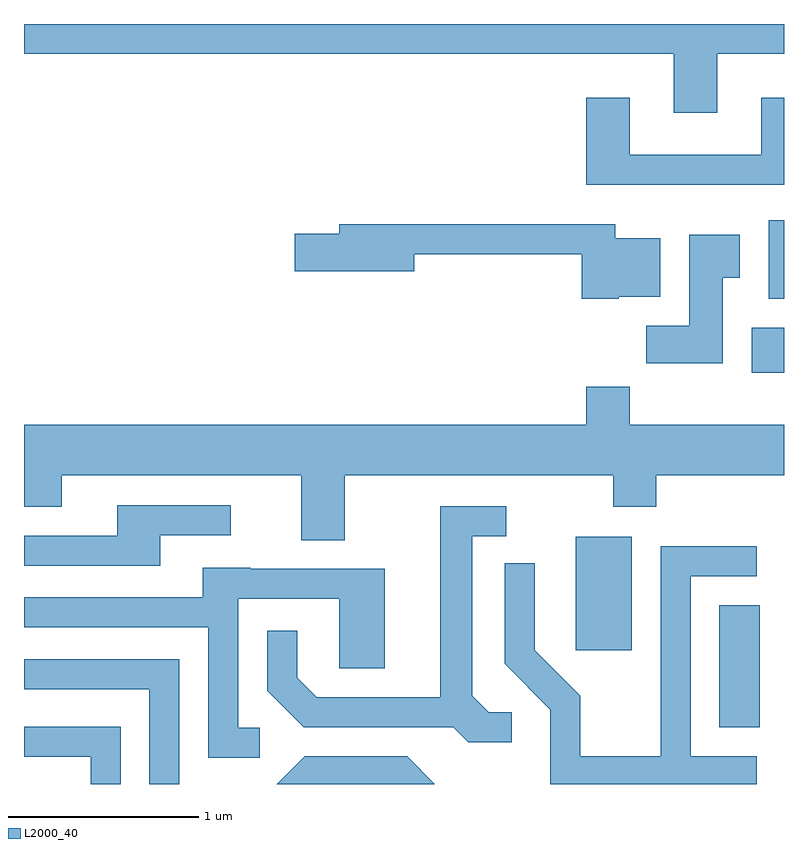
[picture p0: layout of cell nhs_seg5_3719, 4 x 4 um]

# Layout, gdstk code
import gdstk
lib = gdstk.Library(unit=1e-6, precision=1e-09)
def R(c, l, rs):  # rectangles x0, y0, x1, y1
    for r in rs: c.add(gdstk.rectangle(r[:2], r[2:], *l))
def P(c, l, *ps):  # polygons
    for p in ps: c.add(gdstk.Polygon(p, *l))
L2000_40 = (2000, 40)

nhs_seg5_3719 = lib.new_cell('nhs_seg5_3719')
R(nhs_seg5_3719, L2000_40, [(299.271,1444.371,299.484,1445.014), (298.516,1444.776,298.809,1445.374), (299.441,1446.236,299.611,1446.474), (299.531,1446.626,299.611,1447.039)])
P(nhs_seg5_3719, L2000_40, [(299.259,1447.916),(299.611,1447.916),(299.611,1448.072),(295.611,1448.072),(295.611,1447.916),(299.031,1447.916),(299.031,1447.606),(299.259,1447.606)],
  [(299.611,1447.684),(299.491,1447.684),(299.491,1447.384),(298.799,1447.384),(298.799,1447.684),(298.571,1447.684),(298.571,1447.226),(299.611,1447.226)],
  [(298.74,1446.636),(298.959,1446.636),(298.959,1446.944),(298.724,1446.944),(298.724,1447.019),(297.271,1447.019),(297.271,1446.969),(297.036,1446.969),(297.036,1446.771),(297.664,1446.771),(297.664,1446.861),(298.546,1446.861),(298.546,1446.626),(298.74,1446.626)],
  [(299.289,1446.736),(299.379,1446.736),(299.379,1446.964),(299.111,1446.964),(299.111,1446.484),(298.886,1446.484),(298.886,1446.286),(299.289,1446.286)],
  [(297.299,1445.696),(298.711,1445.696),(298.711,1445.531),(298.939,1445.531),(298.939,1445.696),(299.611,1445.696),(299.611,1445.964),(298.799,1445.964),(298.799,1446.164),(298.571,1446.164),(298.571,1445.964),(295.611,1445.964),(295.611,1445.531),(295.809,1445.531),(295.809,1445.696),(297.071,1445.696),(297.071,1445.356),(297.299,1445.356)],
  [(296.329,1445.381),(296.698,1445.381),(296.698,1445.539),(296.101,1445.539),(296.101,1445.379),(295.611,1445.379),(295.611,1445.221),(296.329,1445.221)],
  [(298.178,1444.449),(298.057,1444.449),(297.969,1444.537),(297.969,1445.376),(298.148,1445.376),(298.148,1445.534),(297.801,1445.534),(297.801,1444.529),(297.152,1444.529),(297.049,1444.632),(297.049,1444.878),(296.891,1444.878),(296.891,1444.564),(297.084,1444.371),(297.869,1444.371),(297.949,1444.291),(298.178,1444.291)],
  [(299.468,1444.219),(299.119,1444.219),(299.119,1445.166),(299.468,1445.166),(299.468,1445.324),(298.961,1445.324),(298.961,1444.219),(298.539,1444.219),(298.539,1444.537),(298.299,1444.777),(298.299,1445.233),(298.141,1445.233),(298.141,1444.704),(298.381,1444.464),(298.381,1444.072),(299.468,1444.072)],
  [(296.853,1444.369),(296.739,1444.369),(296.739,1445.046),(297.271,1445.046),(297.271,1444.681),(297.509,1444.681),(297.509,1445.204),(296.805,1445.204),(296.805,1445.209),(296.551,1445.209),(296.551,1445.054),(295.611,1445.054),(295.611,1444.896),(296.581,1444.896),(296.581,1444.211),(296.853,1444.211)],
  [(296.429,1444.729),(295.611,1444.729),(295.611,1444.571),(296.271,1444.571),(296.271,1444.072),(296.429,1444.072)],
  [(296.119,1444.374),(295.611,1444.374),(295.611,1444.216),(295.961,1444.216),(295.961,1444.072),(296.119,1444.072)],
  [(297.627,1444.219),(297.089,1444.219),(296.942,1444.072),(297.774,1444.072)])

lib.write_gds('nhs_seg5_3719.gds')
